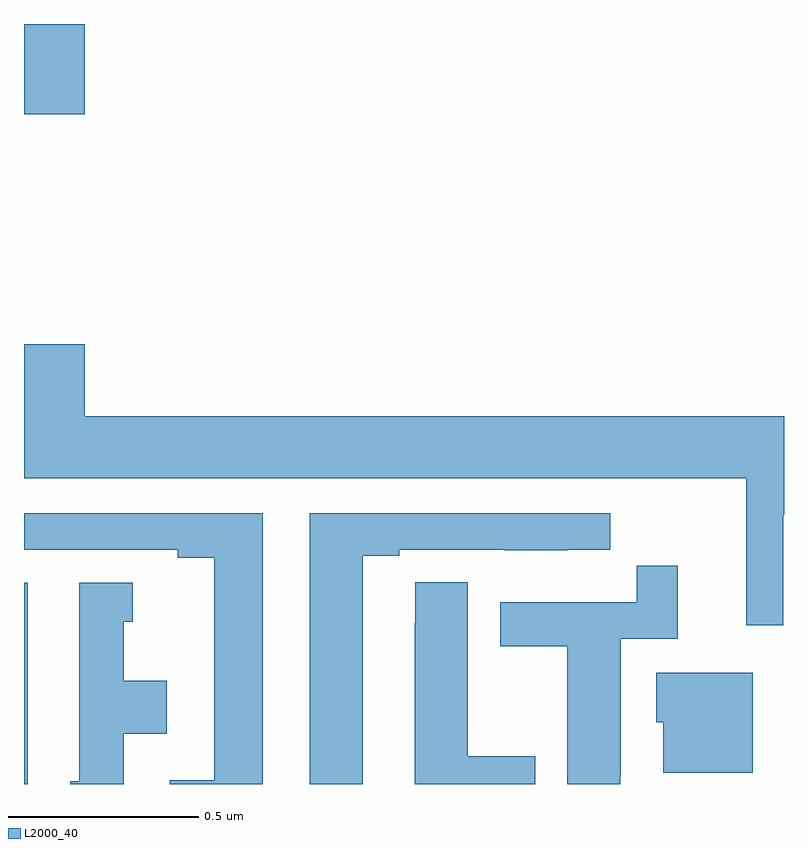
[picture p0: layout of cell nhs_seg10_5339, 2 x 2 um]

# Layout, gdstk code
import gdstk
lib = gdstk.Library(unit=1e-6, precision=1e-09)
def R(c, l, rs):  # rectangles x0, y0, x1, y1
    for r in rs: c.add(gdstk.rectangle(r[:2], r[2:], *l))
def P(c, l, *ps):  # polygons
    for p in ps: c.add(gdstk.Polygon(p, *l))
L2000_40 = (2000, 40)

nhs_seg10_5339 = lib.new_cell('nhs_seg10_5339')
R(nhs_seg10_5339, L2000_40, [(177,1311.5,177.01,1312.03), (177,1313.262,177.16,1313.5)])
P(nhs_seg10_5339, L2000_40, [(178.998,1312.208),(179,1312.208),(179,1312.468),(177.16,1312.468),(177.16,1312.657),(177,1312.657),(177,1312.304),(178.901,1312.304),(178.901,1311.918),(178.998,1311.918)],
  [(177.628,1312.212),(177,1312.212),(177,1312.116),(177.404,1312.116),(177.404,1312.096),(177.5,1312.096),(177.5,1311.51),(177.384,1311.51),(177.384,1311.5),(177.628,1311.5)],
  [(177.892,1312.101),(177.988,1312.101),(177.988,1312.116),(178.264,1312.116),(178.264,1312.115),(178.43,1312.115),(178.43,1312.116),(178.543,1312.116),(178.543,1312.212),(177.752,1312.212),(177.752,1311.5),(177.892,1311.5)],
  [(178.569,1311.52),(178.57,1311.52),(178.57,1311.882),(178.721,1311.882),(178.721,1312.075),(178.612,1312.075),(178.612,1311.978),(178.253,1311.978),(178.253,1311.862),(178.43,1311.862),(178.43,1311.5),(178.569,1311.5)],
  [(178.345,1311.573),(178.168,1311.573),(178.168,1312.031),(178.029,1312.031),(178.029,1311.923),(178.028,1311.923),(178.028,1311.5),(178.345,1311.5)],
  [(177.262,1311.632),(177.376,1311.632),(177.376,1311.772),(177.262,1311.772),(177.262,1311.927),(177.286,1311.927),(177.286,1312.03),(177.146,1312.03),(177.146,1311.507),(177.122,1311.507),(177.122,1311.5),(177.262,1311.5)],
  [(178.918,1311.793),(178.664,1311.793),(178.664,1311.663),(178.682,1311.663),(178.682,1311.53),(178.918,1311.53)])

lib.write_gds('nhs_seg10_5339.gds')
